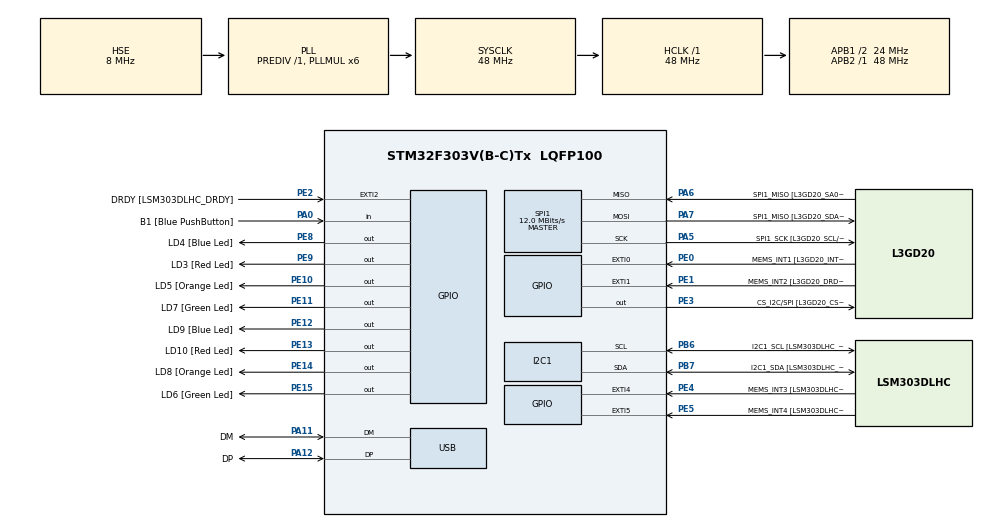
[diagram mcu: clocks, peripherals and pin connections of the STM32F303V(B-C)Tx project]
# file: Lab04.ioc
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I2C1.Timing=0x00201D2B
I2C1.Timing-I2C=0x2000090E
Mcu.Family=STM32F3
Mcu.Name=STM32F303V(B-C)Tx
Mcu.Package=LQFP100
NVIC.PriorityGroup=NVIC_PRIORITYGROUP_0
PA0.GPIO_Label=B1 [Blue PushButton]
PA0.Signal=GPIO_Input
PA11.GPIO_Label=DM
PA11.Mode=Device
PA11.Signal=USB_DM
PA12.GPIO_Label=DP
PA12.Mode=Device
PA12.Signal=USB_DP
PA13.GPIO_Label=SWDIO
PA13.Mode=Serial_Wire
PA13.Signal=SYS_JTMS-SWDIO
PA14.GPIO_Label=SWCLK
PA14.Mode=Serial_Wire
PA14.Signal=SYS_JTCK-SWCLK
PA5.GPIO_Label=SPI1_SCK [L3GD20_SCL/SPC]
PA5.Mode=Full_Duplex_Master
PA5.Signal=SPI1_SCK
PA6.GPIO_Label=SPI1_MISO [L3GD20_SA0/SDO]
PA6.Mode=Full_Duplex_Master
PA6.Signal=SPI1_MISO
PA7.GPIO_Label=SPI1_MISO [L3GD20_SDA/SDI/SDO]
PA7.Mode=Full_Duplex_Master
PA7.Signal=SPI1_MOSI
PB3.GPIO_Label=SWO
PB3.Signal=SYS_JTDO-TRACESWO
PB6.GPIO_Label=I2C1_SCL [LSM303DLHC_SCL]
PB6.GPIO_Pu=GPIO_PULLUP
PB6.Mode=I2C
PB6.Signal=I2C1_SCL
PB7.GPIO_Label=I2C1_SDA [LSM303DLHC_SDA]
PB7.GPIO_Pu=GPIO_PULLUP
PB7.Mode=I2C
PB7.Signal=I2C1_SDA
PC14-OSC32_IN.GPIO_Label=OSC32_IN
PC14-OSC32_IN.Signal=RCC_OSC32_IN
PC15-OSC32_OUT.GPIO_Label=OSC32_OUT
PC15-OSC32_OUT.Signal=RCC_OSC32_OUT
PE0.GPIO_Label=MEMS_INT1 [L3GD20_INT1]
PE0.GPIO_ModeDefaultEXTI=GPIO_MODE_EVT_RISING
PE0.Signal=GPXTI0
PE1.GPIO_Label=MEMS_INT2 [L3GD20_DRDY/INT2]
PE1.GPIO_ModeDefaultEXTI=GPIO_MODE_EVT_RISING
PE1.Signal=GPXTI1
PE10.GPIO_Label=LD5 [Orange Led]
PE10.Signal=GPIO_Output
PE11.GPIO_Label=LD7 [Green Led]
PE11.Signal=GPIO_Output
PE12.GPIO_Label=LD9 [Blue Led]
PE12.Signal=GPIO_Output
PE13.GPIO_Label=LD10 [Red Led]
PE13.Signal=GPIO_Output
PE14.GPIO_Label=LD8 [Orange Led]
PE14.Signal=GPIO_Output
PE15.GPIO_Label=LD6 [Green Led]
PE15.Signal=GPIO_Output
PE2.GPIO_Label=DRDY [LSM303DLHC_DRDY]
PE2.GPIO_ModeDefaultEXTI=GPIO_MODE_EVT_RISING
PE2.Signal=GPXTI2
PE3.GPIO_Label=CS_I2C/SPI [L3GD20_CS_I2C/SPI]
PE3.Signal=GPIO_Output
PE4.GPIO_Label=MEMS_INT3 [LSM303DLHC_INT1]
PE4.GPIO_ModeDefaultEXTI=GPIO_MODE_EVT_RISING
PE4.Signal=GPXTI4
PE5.GPIO_Label=MEMS_INT4 [LSM303DLHC_INT2]
PE5.GPIO_ModeDefaultEXTI=GPIO_MODE_EVT_RISING
PE5.Signal=GPXTI5
PE8.GPIO_Label=LD4 [Blue Led]
PE8.Signal=GPIO_Output
PE9.GPIO_Label=LD3 [Red Led]
PE9.Signal=GPIO_Output
PF0-OSC_IN.GPIO_Label=OSC_IN
PF0-OSC_IN.Mode=HSE-External-Clock-Source
PF0-OSC_IN.Signal=RCC_OSC_IN
PF1-OSC_OUT.GPIO_Label=OSC_OUT
PF1-OSC_OUT.Signal=RCC_OSC_OUT
ProjectManager.HeapSize=0x200
ProjectManager.StackSize=0x400
ProjectManager.TargetToolchain=CMake
RCC.AHBFreq_Value=48000000
RCC.APB1CLKDivider=RCC_HCLK_DIV2
RCC.APB1Freq_Value=24000000
RCC.APB1TimFreq_Value=48000000
RCC.APB2Freq_Value=48000000
RCC.APB2TimFreq_Value=48000000
RCC.CortexFreq_Value=48000000
RCC.HCLKFreq_Value=48000000
RCC.HSE_VALUE=8000000
RCC.HSI_VALUE=8000000
RCC.LSE_VALUE=32768
RCC.PLLMUL=RCC_PLL_MUL6
RCC.SYSCLKFreq_VALUE=48000000
RCC.SYSCLKSourceVirtual=RCC_SYSCLKSOURCE_PLLCLK
RCC.USBFreq_Value=48000000
SPI1.BaudRatePrescaler=SPI_BAUDRATEPRESCALER_4
SPI1.BaudRatePrescaler-Full_Duplex_Master=SPI_BAUDRATEPRESCALER_2
SPI1.CalculateBaudRate=12.0 MBits/s
SPI1.CalculateBaudRate-Full_Duplex_Master=24.0 MBits/s
SPI1.Direction=SPI_DIRECTION_2LINES
SPI1.Mode=SPI_MODE_MASTER
SPI1.Mode-Full_Duplex_Master=SPI_MODE_MASTER
SPI1.VirtualType=VM_MASTER
TIM2.Prescaler=47999
VP_TIM2_VS_ClockSourceINT.Mode=Internal
board=STM32F3DISCOVERY

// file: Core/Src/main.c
/* USER CODE BEGIN Header */
/**
  ******************************************************************************
  * @file           : main.c
  * @brief          : Main program body
  ******************************************************************************
  * @attention
  *
  * Copyright (c) 2025 STMicroelectronics.
  * All rights reserved.
  *
  * This software is licensed under terms that can be found in the LICENSE file
  * in the root directory of this software component.
  * If no LICENSE file comes with this software, it is provided AS-IS.
  *
  ******************************************************************************
  */
/* USER CODE END Header */
#include "main.h"
#include <stdio.h>

I2C_HandleTypeDef hi2c1;

SPI_HandleTypeDef hspi1;

TIM_HandleTypeDef htim2;

PCD_HandleTypeDef hpcd_USB_FS;

void SystemClock_Config(void);
static void MX_GPIO_Init(void);
static void MX_I2C1_Init(void);
static void MX_SPI1_Init(void);
static void MX_TIM2_Init(void);
static void MX_USB_PCD_Init(void);

/* USER CODE BEGIN 0 */
void delay_ms(uint32_t ms)
{
    // Ensure TIM2 counter starts from 0
    __HAL_TIM_SET_COUNTER(&htim2, 0);

    // Start TIM2 in base mode
    HAL_TIM_Base_Start(&htim2);

    while (__HAL_TIM_GET_COUNTER(&htim2) < ms)
    {
        // Busy wait until counter reaches desired ms
    }

    // Stop TIM2 after the delay
    HAL_TIM_Base_Stop(&htim2);
}
/* USER CODE END 0 */

int main(void)
{

  /* MCU Configuration--------------------------------------------------------*/

  /* Reset of all peripherals, Initializes the Flash interface and the Systick. */
  HAL_Init();

  /* Configure the system clock */
  SystemClock_Config();

  /* Initialize all configured peripherals */
  MX_GPIO_Init();
  MX_I2C1_Init();
  MX_SPI1_Init();
  MX_TIM2_Init();
  MX_USB_PCD_Init();
  /* USER CODE BEGIN 2 */
  // 48 MHz / (47999+1) = 1 kHz -> 1 tick = 1 ms
  __HAL_TIM_SET_PRESCALER(&htim2, 47999);   // optional if already set by CubeMX
  __HAL_TIM_SET_AUTORELOAD(&htim2, 999);    // 1000 ms period

  // NVIC (if CubeMX didn't enable it)
  HAL_NVIC_SetPriority(TIM2_IRQn, 1, 0);
  HAL_NVIC_EnableIRQ(TIM2_IRQn);

  // Start TIM2 in interrupt mode
  HAL_TIM_Base_Start_IT(&htim2);
  /* USER CODE END 2 */

  /* Infinite loop */
  while (1)
  {
    HAL_GPIO_TogglePin(LD3_GPIO_Port, LD3_Pin);  // Toggle LD3
    HAL_Delay(1000);                        // 1000 ms delay
  }
}

void SystemClock_Config(void)
{
  RCC_OscInitTypeDef RCC_OscInitStruct = {0};
  RCC_ClkInitTypeDef RCC_ClkInitStruct = {0};
  RCC_PeriphCLKInitTypeDef PeriphClkInit = {0};

  /** Initializes the RCC Oscillators according to the specified parameters
  * in the RCC_OscInitTypeDef structure.
  */
  RCC_OscInitStruct.OscillatorType = RCC_OSCILLATORTYPE_HSI|RCC_OSCILLATORTYPE_HSE;
  RCC_OscInitStruct.HSEState = RCC_HSE_BYPASS;
  RCC_OscInitStruct.HSEPredivValue = RCC_HSE_PREDIV_DIV1;
  RCC_OscInitStruct.HSIState = RCC_HSI_ON;
  RCC_OscInitStruct.HSICalibrationValue = RCC_HSICALIBRATION_DEFAULT;
  RCC_OscInitStruct.PLL.PLLState = RCC_PLL_ON;
  RCC_OscInitStruct.PLL.PLLSource = RCC_PLLSOURCE_HSE;
  RCC_OscInitStruct.PLL.PLLMUL = RCC_PLL_MUL6;
  if (HAL_RCC_OscConfig(&RCC_OscInitStruct) != HAL_OK)
  {
    Error_Handler();
  }

  /** Initializes the CPU, AHB and APB buses clocks
  */
  RCC_ClkInitStruct.ClockType = RCC_CLOCKTYPE_HCLK|RCC_CLOCKTYPE_SYSCLK
                              |RCC_CLOCKTYPE_PCLK1|RCC_CLOCKTYPE_PCLK2;
  RCC_ClkInitStruct.SYSCLKSource = RCC_SYSCLKSOURCE_PLLCLK;
  RCC_ClkInitStruct.AHBCLKDivider = RCC_SYSCLK_DIV1;
  RCC_ClkInitStruct.APB1CLKDivider = RCC_HCLK_DIV2;
  RCC_ClkInitStruct.APB2CLKDivider = RCC_HCLK_DIV1;

  if (HAL_RCC_ClockConfig(&RCC_ClkInitStruct, FLASH_LATENCY_1) != HAL_OK)
  {
    Error_Handler();
  }
  PeriphClkInit.PeriphClockSelection = RCC_PERIPHCLK_USB|RCC_PERIPHCLK_I2C1;
  PeriphClkInit.I2c1ClockSelection = RCC_I2C1CLKSOURCE_HSI;
  PeriphClkInit.USBClockSelection = RCC_USBCLKSOURCE_PLL;
  if (HAL_RCCEx_PeriphCLKConfig(&PeriphClkInit) != HAL_OK)
  {
    Error_Handler();
  }
}

static void MX_I2C1_Init(void)
{

  hi2c1.Instance = I2C1;
  hi2c1.Init.Timing = 0x00201D2B;
  hi2c1.Init.OwnAddress1 = 0;
  hi2c1.Init.AddressingMode = I2C_ADDRESSINGMODE_7BIT;
  hi2c1.Init.DualAddressMode = I2C_DUALADDRESS_DISABLE;
  hi2c1.Init.OwnAddress2 = 0;
  hi2c1.Init.OwnAddress2Masks = I2C_OA2_NOMASK;
  hi2c1.Init.GeneralCallMode = I2C_GENERALCALL_DISABLE;
  hi2c1.Init.NoStretchMode = I2C_NOSTRETCH_DISABLE;
  if (HAL_I2C_Init(&hi2c1) != HAL_OK)
  {
    Error_Handler();
  }

  /** Configure Analogue filter
  */
  if (HAL_I2CEx_ConfigAnalogFilter(&hi2c1, I2C_ANALOGFILTER_ENABLE) != HAL_OK)
  {
    Error_Handler();
  }

  /** Configure Digital filter
  */
  if (HAL_I2CEx_ConfigDigitalFilter(&hi2c1, 0) != HAL_OK)
  {
    Error_Handler();
  }

}

static void MX_SPI1_Init(void)
{

  /* SPI1 parameter configuration*/
  hspi1.Instance = SPI1;
  hspi1.Init.Mode = SPI_MODE_MASTER;
  hspi1.Init.Direction = SPI_DIRECTION_2LINES;
  hspi1.Init.DataSize = SPI_DATASIZE_4BIT;
  hspi1.Init.CLKPolarity = SPI_POLARITY_LOW;
  hspi1.Init.CLKPhase = SPI_PHASE_1EDGE;
  hspi1.Init.NSS = SPI_NSS_SOFT;
  hspi1.Init.BaudRatePrescaler = SPI_BAUDRATEPRESCALER_4;
  hspi1.Init.FirstBit = SPI_FIRSTBIT_MSB;
  hspi1.Init.TIMode = SPI_TIMODE_DISABLE;
  hspi1.Init.CRCCalculation = SPI_CRCCALCULATION_DISABLE;
  hspi1.Init.CRCPolynomial = 7;
  hspi1.Init.CRCLength = SPI_CRC_LENGTH_DATASIZE;
  hspi1.Init.NSSPMode = SPI_NSS_PULSE_ENABLE;
  if (HAL_SPI_Init(&hspi1) != HAL_OK)
  {
    Error_Handler();
  }

}

static void MX_TIM2_Init(void)
{

  TIM_ClockConfigTypeDef sClockSourceConfig = {0};
  TIM_MasterConfigTypeDef sMasterConfig = {0};

  htim2.Instance = TIM2;
  htim2.Init.Prescaler = 47;
  htim2.Init.CounterMode = TIM_COUNTERMODE_UP;
  htim2.Init.Period = 999;
  htim2.Init.ClockDivision = TIM_CLOCKDIVISION_DIV1;
  htim2.Init.AutoReloadPreload = TIM_AUTORELOAD_PRELOAD_DISABLE;
  if (HAL_TIM_Base_Init(&htim2) != HAL_OK)
  {
    Error_Handler();
  }
  sClockSourceConfig.ClockSource = TIM_CLOCKSOURCE_INTERNAL;
  if (HAL_TIM_ConfigClockSource(&htim2, &sClockSourceConfig) != HAL_OK)
  {
    Error_Handler();
  }
  sMasterConfig.MasterOutputTrigger = TIM_TRGO_RESET;
  sMasterConfig.MasterSlaveMode = TIM_MASTERSLAVEMODE_DISABLE;
  if (HAL_TIMEx_MasterConfigSynchronization(&htim2, &sMasterConfig) != HAL_OK)
  {
    Error_Handler();
  }

}

static void MX_USB_PCD_Init(void)
{

  hpcd_USB_FS.Instance = USB;
  hpcd_USB_FS.Init.dev_endpoints = 8;
  hpcd_USB_FS.Init.speed = PCD_SPEED_FULL;
  hpcd_USB_FS.Init.phy_itface = PCD_PHY_EMBEDDED;
  hpcd_USB_FS.Init.low_power_enable = DISABLE;
  hpcd_USB_FS.Init.battery_charging_enable = DISABLE;
  if (HAL_PCD_Init(&hpcd_USB_FS) != HAL_OK)
  {
    Error_Handler();
  }

}

static void MX_GPIO_Init(void)
{
  GPIO_InitTypeDef GPIO_InitStruct = {0};

  /* GPIO Ports Clock Enable */
  __HAL_RCC_GPIOE_CLK_ENABLE();
  __HAL_RCC_GPIOC_CLK_ENABLE();
  __HAL_RCC_GPIOF_CLK_ENABLE();
  __HAL_RCC_GPIOA_CLK_ENABLE();
  __HAL_RCC_GPIOB_CLK_ENABLE();

  /*Configure GPIO pin Output Level */
  HAL_GPIO_WritePin(GPIOE, CS_I2C_SPI_Pin|LD4_Pin|LD3_Pin|LD5_Pin
                          |LD7_Pin|LD9_Pin|LD10_Pin|LD8_Pin
                          |LD6_Pin, GPIO_PIN_RESET);

  /*Configure GPIO pins : DRDY_Pin MEMS_INT3_Pin MEMS_INT4_Pin MEMS_INT1_Pin
                           MEMS_INT2_Pin */
  GPIO_InitStruct.Pin = DRDY_Pin|MEMS_INT3_Pin|MEMS_INT4_Pin|MEMS_INT1_Pin
                          |MEMS_INT2_Pin;
  GPIO_InitStruct.Mode = GPIO_MODE_EVT_RISING;
  GPIO_InitStruct.Pull = GPIO_NOPULL;
  HAL_GPIO_Init(GPIOE, &GPIO_InitStruct);

  /*Configure GPIO pins : CS_I2C_SPI_Pin LD4_Pin LD3_Pin LD5_Pin
                           LD7_Pin LD9_Pin LD10_Pin LD8_Pin
                           LD6_Pin */
  GPIO_InitStruct.Pin = CS_I2C_SPI_Pin|LD4_Pin|LD3_Pin|LD5_Pin
                          |LD7_Pin|LD9_Pin|LD10_Pin|LD8_Pin
                          |LD6_Pin;
  GPIO_InitStruct.Mode = GPIO_MODE_OUTPUT_PP;
  GPIO_InitStruct.Pull = GPIO_NOPULL;
  GPIO_InitStruct.Speed = GPIO_SPEED_FREQ_LOW;
  HAL_GPIO_Init(GPIOE, &GPIO_InitStruct);

  /*Configure GPIO pin : B1_Pin */
  GPIO_InitStruct.Pin = B1_Pin;
  GPIO_InitStruct.Mode = GPIO_MODE_INPUT;
  GPIO_InitStruct.Pull = GPIO_NOPULL;
  HAL_GPIO_Init(B1_GPIO_Port, &GPIO_InitStruct);

}

/* USER CODE BEGIN 4 */
volatile uint32_t countA = 0;  // 500 ms -> 1 Hz
volatile uint32_t countB = 0;  // 200 ms -> 2.5 Hz
volatile uint32_t countC = 0;  // 100 ms -> 5 Hz
void HAL_TIM_PeriodElapsedCallback(TIM_HandleTypeDef *htim)
{
    if (htim->Instance == TIM2) {
        // Increment every 1 ms
        if (++countA >= 500) {                 // 500 ms -> ~1 Hz blink
            HAL_GPIO_TogglePin(LD3_GPIO_Port, LD3_Pin);
            countA = 0;
        }
        if (++countB >= 200) {                 // 200 ms -> ~2.5 Hz
            HAL_GPIO_TogglePin(LD4_GPIO_Port, LD4_Pin);
            countB = 0;
        }
        if (++countC >= 100) {                 // 100 ms -> ~5 Hz
            HAL_GPIO_TogglePin(LD5_GPIO_Port, LD5_Pin);
            countC = 0;
        }
    }
}
/* USER CODE END 4 */

void Error_Handler(void)
{
  __disable_irq();
  while (1)
  {
  }
}
